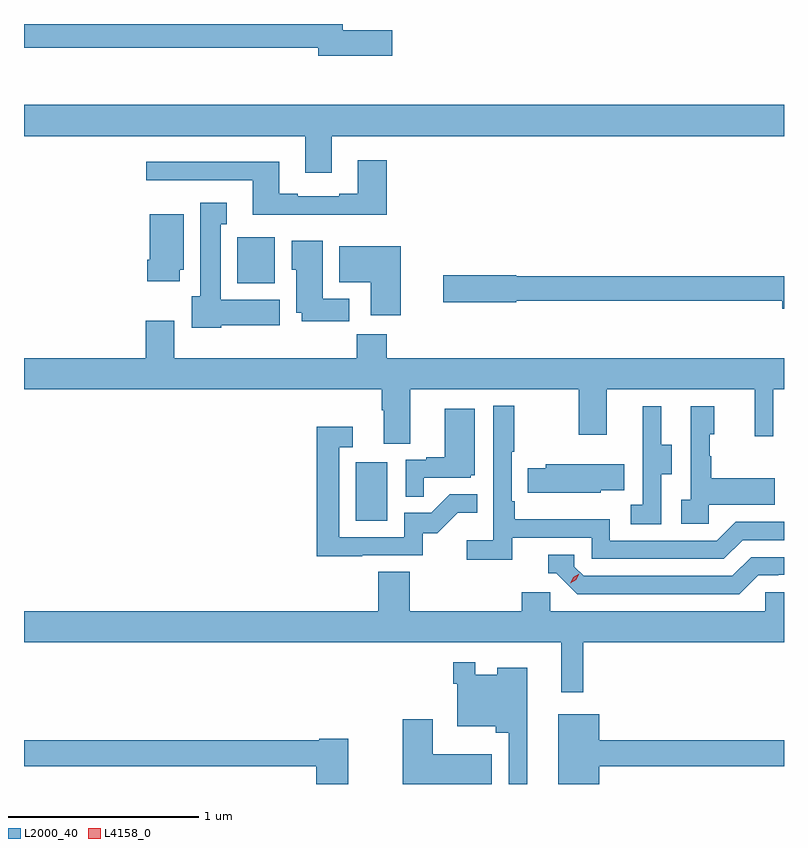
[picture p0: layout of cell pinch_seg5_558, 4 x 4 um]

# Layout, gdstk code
import gdstk
lib = gdstk.Library(unit=1e-6, precision=1e-09)
def R(c, l, rs):  # rectangles x0, y0, x1, y1
    for r in rs: c.add(gdstk.rectangle(r[:2], r[2:], *l))
def P(c, l, *ps):  # polygons
    for p in ps: c.add(gdstk.Polygon(p, *l))
L2000_40 = (2000, 40)
L4158_0 = (4158, 0)

pinch_seg5_558 = lib.new_cell('pinch_seg5_558')
R(pinch_seg5_558, L2000_40, [(965.408,853.404,965.572,853.711), (964.784,854.654,964.981,854.896)])
P(pinch_seg5_558, L2000_40, [(965.599,855.986),(965.338,855.986),(965.338,856.018),(963.661,856.018),(963.661,855.894),(965.21,855.894),(965.21,855.851),(965.599,855.851)],
  [(965.281,855.428),(967.661,855.428),(967.661,855.592),(963.661,855.592),(963.661,855.428),(965.141,855.428),(965.141,855.234),(965.281,855.234)],
  [(965.57,855.301),(965.417,855.301),(965.417,855.124),(965.321,855.124),(965.321,855.111),(965.101,855.111),(965.101,855.124),(965.005,855.124),(965.005,855.292),(964.305,855.292),(964.305,855.195),(964.865,855.195),(964.865,855.014),(965.57,855.014)],
  [(964.698,854.432),(965.008,854.432),(965.008,854.566),(964.696,854.566),(964.696,854.963),(964.729,854.963),(964.729,855.076),(964.589,855.076),(964.589,854.586),(964.544,854.586),(964.544,854.42),(964.698,854.42)],
  [(964.48,854.724),(964.501,854.724),(964.501,855.016),(964.322,855.016),(964.322,854.776),(964.31,854.776),(964.31,854.664),(964.48,854.664)],
  [(965.372,854.572),(965.233,854.572),(965.233,854.878),(965.069,854.878),(965.069,854.724),(965.093,854.724),(965.093,854.498),(965.123,854.498),(965.123,854.454),(965.372,854.454)],
  [(965.644,854.848),(965.321,854.848),(965.321,854.66),(965.486,854.66),(965.486,854.484),(965.644,854.484)],
  [(967.661,854.69),(966.252,854.69),(966.252,854.696),(965.868,854.696),(965.868,854.554),(966.252,854.554),(966.252,854.562),(967.652,854.562),(967.652,854.519),(967.661,854.519)],
  [(965.695,854.096),(966.58,854.096),(966.58,853.857),(966.727,853.857),(966.727,854.096),(967.508,854.096),(967.508,853.848),(967.605,853.848),(967.605,854.096),(967.661,854.096),(967.661,854.26),(965.57,854.26),(965.57,854.384),(965.413,854.384),(965.413,854.26),(964.453,854.26),(964.453,854.455),(964.301,854.455),(964.301,854.26),(963.661,854.26),(963.661,854.096),(965.543,854.096),(965.543,853.984),(965.555,853.984),(965.555,853.81),(965.695,853.81)],
  [(966.23,853.314),(966.648,853.314),(966.648,853.203),(967.345,853.203),(967.444,853.302),(967.661,853.302),(967.661,853.398),(967.407,853.398),(967.308,853.299),(966.744,853.299),(966.744,853.411),(966.245,853.411),(966.245,853.507),(966.228,853.507),(966.228,853.768),(966.241,853.768),(966.241,854.008),(966.132,854.008),(966.132,853.3),(965.991,853.3),(965.991,853.198),(966.23,853.198)],
  [(967.266,853.487),(967.613,853.487),(967.613,853.627),(967.279,853.627),(967.279,853.742),(967.269,853.742),(967.269,853.86),(967.294,853.86),(967.294,854.005),(967.17,854.005),(967.17,853.514),(967.119,853.514),(967.119,853.389),(967.266,853.389)],
  [(967.014,853.648),(967.069,853.648),(967.069,853.803),(967.015,853.803),(967.015,854.005),(966.917,854.005),(966.917,853.791),(966.918,853.791),(966.918,853.487),(966.855,853.487),(966.855,853.384),(967.014,853.384)],
  [(965.765,853.629),(966.012,853.629),(966.012,853.644),(966.034,853.644),(966.034,853.993),(965.876,853.993),(965.876,853.738),(965.777,853.738),(965.777,853.725),(965.67,853.725),(965.67,853.531),(965.765,853.531)],
  [(965.441,853.221),(965.76,853.221),(965.76,853.338),(965.836,853.338),(965.943,853.445),(966.047,853.445),(966.047,853.544),(965.903,853.544),(965.805,853.446),(965.661,853.446),(965.661,853.317),(965.319,853.317),(965.319,853.791),(965.392,853.791),(965.392,853.897),(965.203,853.897),(965.203,853.216),(965.441,853.216)],
  [(966.696,853.565),(966.821,853.565),(966.821,853.702),(966.407,853.702),(966.407,853.68),(966.313,853.68),(966.313,853.551),(966.424,853.551),(966.424,853.55),(966.696,853.55)],
  [(967.525,853.116),(967.632,853.116),(967.632,853.119),(967.661,853.119),(967.661,853.212),(967.488,853.212),(967.389,853.113),(966.606,853.113),(966.558,853.161),(966.558,853.224),(966.419,853.224),(966.419,853.128),(966.462,853.128),(966.573,853.017),(967.426,853.017)],
  [(966.605,852.764),(967.661,852.764),(967.661,853.026),(967.563,853.026),(967.563,852.928),(966.432,852.928),(966.432,853.026),(966.281,853.026),(966.281,852.928),(965.69,852.928),(965.69,853.136),(965.525,853.136),(965.525,852.928),(963.661,852.928),(963.661,852.764),(966.488,852.764),(966.488,852.501),(966.605,852.501)],
  [(966.31,852.631),(966.152,852.631),(966.152,852.592),(966.036,852.592),(966.036,852.658),(965.92,852.658),(965.92,852.545),(965.94,852.545),(965.94,852.323),(966.145,852.323),(966.145,852.287),(966.213,852.287),(966.213,852.018),(966.31,852.018)],
  [(966.688,852.112),(967.661,852.112),(967.661,852.248),(966.688,852.248),(966.688,852.385),(966.473,852.385),(966.473,852.018),(966.688,852.018)],
  [(966.124,852.175),(965.812,852.175),(965.812,852.358),(965.654,852.358),(965.654,852.018),(966.124,852.018)],
  [(965.368,852.256),(965.214,852.256),(965.214,852.248),(963.661,852.248),(963.661,852.112),(965.198,852.112),(965.198,852.018),(965.368,852.018)])
P(pinch_seg5_558, L4158_0, [(966.536,853.074),(966.536,853.074),(966.552,853.106),(966.583,853.125),(966.584,853.125),(966.584,853.125),(966.567,853.093),(966.536,853.074)])

lib.write_gds('pinch_seg5_558.gds')
